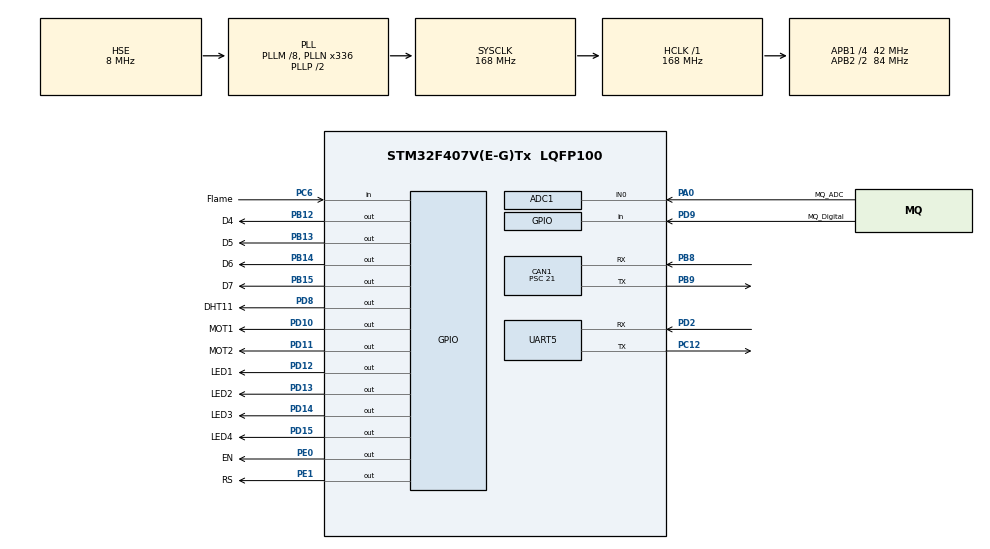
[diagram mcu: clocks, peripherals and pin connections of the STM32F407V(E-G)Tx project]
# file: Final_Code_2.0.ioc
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ADC1.Channel-0\#ChannelRegularConversion=ADC_CHANNEL_0
ADC1.ClockPrescaler=ADC_CLOCK_SYNC_PCLK_DIV8
ADC1.ContinuousConvMode=ENABLE
ADC1.NbrOfConversionFlag=1
ADC1.Rank-0\#ChannelRegularConversion=1
ADC1.Resolution=ADC_RESOLUTION_8B
ADC1.SamplingTime-0\#ChannelRegularConversion=ADC_SAMPLETIME_3CYCLES
ADC1.ScanConvMode=ENABLE
ADC1.master=1
CAN1.BS1=CAN_BS1_13TQ
CAN1.BS2=CAN_BS2_2TQ
CAN1.CalculateTimeQuantum=500.0
CAN1.Prescaler=21
Dma.ADC1.0.Direction=DMA_PERIPH_TO_MEMORY
Dma.ADC1.0.FIFOMode=DMA_FIFOMODE_DISABLE
Dma.ADC1.0.Instance=DMA2_Stream0
Dma.ADC1.0.MemDataAlignment=DMA_MDATAALIGN_HALFWORD
Dma.ADC1.0.MemInc=DMA_MINC_ENABLE
Dma.ADC1.0.Mode=DMA_NORMAL
Dma.ADC1.0.PeriphDataAlignment=DMA_PDATAALIGN_HALFWORD
Dma.ADC1.0.PeriphInc=DMA_PINC_DISABLE
Dma.ADC1.0.Priority=DMA_PRIORITY_LOW
Dma.Request0=ADC1
FREERTOS.Mutexes01=myLcdMutex,Dynamic,NULL;myUserMutex,Dynamic,NULL
FREERTOS.Tasks01=myCanTask,0,128,StartCanTask,Default,NULL,Dynamic,NULL,NULL;myFlameTask,-2,128,StartFlameTask,Default,NULL,Dynamic,NULL,NULL;myDHT11Task,-2,128,StartDHT11Task,Default,NULL,Dynamic,NULL,NULL;myMQ135Task,-2,128,StartMQ135Task,Default,NULL,Dynamic,NULL,NULL;myEmergencyTask,0,128,StartEmergencyTask,Default,NULL,Dynamic,NULL,NULL
Mcu.Family=STM32F4
Mcu.Name=STM32F407V(E-G)Tx
Mcu.Package=LQFP100
NVIC.CAN1_RX0_IRQn=true\:5\:0\:false\:false\:true\:true\:true\:true
NVIC.DMA2_Stream0_IRQn=true\:5\:0\:false\:false\:true\:true\:false\:true
NVIC.PriorityGroup=NVIC_PRIORITYGROUP_4
NVIC.TIM3_IRQn=true\:0\:0\:false\:false\:true\:false\:false\:true
NVIC.TimeBase=TIM3_IRQn
NVIC.TimeBaseIP=TIM3
PA0-WKUP.GPIO_Label=MQ_ADC
PA0-WKUP.Signal=ADCx_IN0
PB12.GPIO_Label=D4
PB12.Signal=GPIO_Output
PB13.GPIO_Label=D5
PB13.Signal=GPIO_Output
PB14.GPIO_Label=D6
PB14.Signal=GPIO_Output
PB15.GPIO_Label=D7
PB15.Signal=GPIO_Output
PB8.Mode=Master
PB8.Signal=CAN1_RX
PB9.Mode=Master
PB9.Signal=CAN1_TX
PC12.Mode=Asynchronous
PC12.Signal=UART5_TX
PC6.GPIO_Label=Flame
PC6.Signal=GPIO_Input
PD10.GPIO_Label=MOT1
PD10.Signal=GPIO_Output
PD11.GPIO_Label=MOT2
PD11.Signal=GPIO_Output
PD12.GPIO_Label=LED1
PD12.Signal=GPIO_Output
PD13.GPIO_Label=LED2
PD13.Signal=GPIO_Output
PD14.GPIO_Label=LED3
PD14.Signal=GPIO_Output
PD15.GPIO_Label=LED4
PD15.Signal=GPIO_Output
PD2.Mode=Asynchronous
PD2.Signal=UART5_RX
PD8.GPIO_Label=DHT11
PD8.Signal=GPIO_Output
PD9.GPIO_Label=MQ_Digital
PD9.Signal=GPIO_Input
PE0.GPIO_Label=EN
PE0.Signal=GPIO_Output
PE1.GPIO_Label=RS
PE1.Signal=GPIO_Output
PH0-OSC_IN.Mode=HSE-External-Oscillator
PH0-OSC_IN.Signal=RCC_OSC_IN
PH1-OSC_OUT.Mode=HSE-External-Oscillator
PH1-OSC_OUT.Signal=RCC_OSC_OUT
ProjectManager.HeapSize=0x200
ProjectManager.StackSize=0x400
ProjectManager.TargetToolchain=MDK-ARM V5
RCC.48MHZClocksFreq_Value=48000000
RCC.AHBFreq_Value=168000000
RCC.APB1CLKDivider=RCC_HCLK_DIV4
RCC.APB1Freq_Value=42000000
RCC.APB1TimFreq_Value=84000000
RCC.APB2CLKDivider=RCC_HCLK_DIV2
RCC.APB2Freq_Value=84000000
RCC.APB2TimFreq_Value=168000000
RCC.CortexFreq_Value=168000000
RCC.HCLKFreq_Value=168000000
RCC.HSE_VALUE=8000000
RCC.HSI_VALUE=16000000
RCC.LSE_VALUE=32768
RCC.PLLM=8
RCC.PLLN=336
RCC.PLLQ=7
RCC.PLLSourceVirtual=RCC_PLLSOURCE_HSE
RCC.SYSCLKFreq_VALUE=168000000
RCC.SYSCLKSource=RCC_SYSCLKSOURCE_PLLCLK
RCC.VCOOutputFreq_Value=336000000
SH.ADCx_IN0.0=ADC1_IN0,IN0
UART5.VirtualMode=Asynchronous
VP_FREERTOS_VS_CMSIS_V1.Mode=CMSIS_V1
VP_SYS_VS_tim3.Mode=TIM3
board=STM32F407G-DISC1

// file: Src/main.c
/* USER CODE BEGIN Header */
/**
  ******************************************************************************
  * @file           : main.c
  * @brief          : Main program body
  ******************************************************************************
  * @attention
  *
  * <h2><center>&copy; Copyright (c) 2020 STMicroelectronics.
  * All rights reserved.</center></h2>
  *
  * This software component is licensed by ST under Ultimate Liberty license
  * SLA0044, the "License"; You may not use this file except in compliance with
  * the License. You may obtain a copy of the License at:
  *                             www.st.com/SLA0044
  *
  ******************************************************************************
  */
/* USER CODE END Header */

#include "main.h"
#include "cmsis_os.h"
#include "MY_DHT11.h"
#include "STM_MY_LCD204A.h"
#include "dwt_stm32_delay.h"

/* USER CODE BEGIN Includes */
#define PERIOD 1000U
/* USER CODE END Includes */

/* USER CODE BEGIN PTD */
//  GPIO_InitTypeDef GPIO_InitStruct = {0};
/* USER CODE END PTD */

ADC_HandleTypeDef hadc1;
DMA_HandleTypeDef hdma_adc1;

CAN_HandleTypeDef hcan1;
CAN_FilterTypeDef sfilterConfig;   //can filter configuration variable
CAN_TxHeaderTypeDef TxHeader;			//can Tx configuration variable
CAN_RxHeaderTypeDef RxHeader;			//can Tx configuration variable
uint32_t pTxMailbox;					//Tx mailbox
void CAN_Init(void);

UART_HandleTypeDef huart5;

osThreadId myCanTaskHandle;
osThreadId myFlameTaskHandle;
osThreadId myDHT11TaskHandle;
osThreadId myMQ135TaskHandle;
osThreadId myEmergencyTaskHandle;
osMutexId myLcdMutexHandle;
osMutexId myUserMutexHandle;

void SystemClock_Config(void);
static void MX_GPIO_Init(void);
static void MX_DMA_Init(void);
static void MX_ADC1_Init(void);
static void MX_CAN1_Init(void);
static void MX_UART5_Init(void);

void StartCanTask(void const * argument);
void StartFlameTask(void const * argument);
void StartDHT11Task(void const * argument);
void StartMQ135Task(void const * argument);
void StartEmergencyTask(void const * argument);

/* USER CODE BEGIN PFP */
	uint8_t temp=0,humid=0;
	uint8_t flame = 0;
	uint8_t can_Data[4];
	uint8_t airQuality;
	uint8_t value1;
	uint8_t smoke = 0;
/* USER CODE END PFP */

int main(void)
{

  /* MCU Configuration--------------------------------------------------------*/

  /* Reset of all peripherals, Initializes the Flash interface and the Systick. */
  HAL_Init();

  /* Configure the system clock */
  SystemClock_Config();

  /* Initialize all configured peripherals */
  MX_GPIO_Init();
  MX_DMA_Init();
  MX_ADC1_Init();
  MX_CAN1_Init();
  MX_UART5_Init();
  /* USER CODE BEGIN 2 */

	HAL_ADC_Start(&hadc1);

	CAN_Init();

	DWT_Delay_Init();

	LCD204A_Begin4BIT(RS_GPIO_Port,RS_Pin,EN_Pin,D4_GPIO_Port,D4_Pin,D5_Pin,D6_Pin,D7_Pin);
	LCD204A_noBlink();
	LCD204A_noCursor();
	LCD204A_print(" Welcome To Factory");
	HAL_Delay(1500);
	LCD204A_clear();
	LCD204A_1stLine();
	LCD204A_print("Configuring...");
	HAL_Delay(3000);
	LCD204A_clear();

  /* USER CODE END 2 */

  /* Create the mutex(es) */
  /* definition and creation of myLcdMutex */
  osMutexDef(myLcdMutex);
  myLcdMutexHandle = osMutexCreate(osMutex(myLcdMutex));

  /* definition and creation of myUserMutex */
  osMutexDef(myUserMutex);
  myUserMutexHandle = osMutexCreate(osMutex(myUserMutex));

  /* Create the thread(s) */
  /* definition and creation of myCanTask */
  osThreadDef(myCanTask, StartCanTask, osPriorityNormal, 0, 128);
  myCanTaskHandle = osThreadCreate(osThread(myCanTask), NULL);

  /* definition and creation of myFlameTask */
  osThreadDef(myFlameTask, StartFlameTask, osPriorityLow, 0, 128);
  myFlameTaskHandle = osThreadCreate(osThread(myFlameTask), NULL);

  /* definition and creation of myDHT11Task */
  osThreadDef(myDHT11Task, StartDHT11Task, osPriorityLow, 0, 128);
  myDHT11TaskHandle = osThreadCreate(osThread(myDHT11Task), NULL);

  /* definition and creation of myMQ135Task */
  osThreadDef(myMQ135Task, StartMQ135Task, osPriorityLow, 0, 128);
  myMQ135TaskHandle = osThreadCreate(osThread(myMQ135Task), NULL);

  /* definition and creation of myEmergencyTask */
  osThreadDef(myEmergencyTask, StartEmergencyTask, osPriorityLow, 0, 128);
  myEmergencyTaskHandle = osThreadCreate(osThread(myEmergencyTask), NULL);

  /* Start scheduler */
  osKernelStart();

  /* We should never get here as control is now taken by the scheduler */

  /* Infinite loop */
  while (1)
  {

  }
}

void SystemClock_Config(void)
{
  RCC_OscInitTypeDef RCC_OscInitStruct = {0};
  RCC_ClkInitTypeDef RCC_ClkInitStruct = {0};

  /** Configure the main internal regulator output voltage
  */
  __HAL_RCC_PWR_CLK_ENABLE();
  __HAL_PWR_VOLTAGESCALING_CONFIG(PWR_REGULATOR_VOLTAGE_SCALE1);
  /** Initializes the CPU, AHB and APB busses clocks
  */
  RCC_OscInitStruct.OscillatorType = RCC_OSCILLATORTYPE_HSE;
  RCC_OscInitStruct.HSEState = RCC_HSE_ON;
  RCC_OscInitStruct.PLL.PLLState = RCC_PLL_ON;
  RCC_OscInitStruct.PLL.PLLSource = RCC_PLLSOURCE_HSE;
  RCC_OscInitStruct.PLL.PLLM = 8;
  RCC_OscInitStruct.PLL.PLLN = 336;
  RCC_OscInitStruct.PLL.PLLP = RCC_PLLP_DIV2;
  RCC_OscInitStruct.PLL.PLLQ = 7;
  if (HAL_RCC_OscConfig(&RCC_OscInitStruct) != HAL_OK)
  {
    Error_Handler();
  }
  /** Initializes the CPU, AHB and APB busses clocks
  */
  RCC_ClkInitStruct.ClockType = RCC_CLOCKTYPE_HCLK|RCC_CLOCKTYPE_SYSCLK
                              |RCC_CLOCKTYPE_PCLK1|RCC_CLOCKTYPE_PCLK2;
  RCC_ClkInitStruct.SYSCLKSource = RCC_SYSCLKSOURCE_PLLCLK;
  RCC_ClkInitStruct.AHBCLKDivider = RCC_SYSCLK_DIV1;
  RCC_ClkInitStruct.APB1CLKDivider = RCC_HCLK_DIV4;
  RCC_ClkInitStruct.APB2CLKDivider = RCC_HCLK_DIV2;

  if (HAL_RCC_ClockConfig(&RCC_ClkInitStruct, FLASH_LATENCY_5) != HAL_OK)
  {
    Error_Handler();
  }
}

static void MX_ADC1_Init(void)
{

  ADC_ChannelConfTypeDef sConfig = {0};

  /** Configure the global features of the ADC (Clock, Resolution, Data Alignment and number of conversion)
  */
  hadc1.Instance = ADC1;
  hadc1.Init.ClockPrescaler = ADC_CLOCK_SYNC_PCLK_DIV8;
  hadc1.Init.Resolution = ADC_RESOLUTION_8B;
  hadc1.Init.ScanConvMode = ENABLE;
  hadc1.Init.ContinuousConvMode = ENABLE;
  hadc1.Init.DiscontinuousConvMode = DISABLE;
  hadc1.Init.ExternalTrigConvEdge = ADC_EXTERNALTRIGCONVEDGE_NONE;
  hadc1.Init.ExternalTrigConv = ADC_SOFTWARE_START;
  hadc1.Init.DataAlign = ADC_DATAALIGN_RIGHT;
  hadc1.Init.NbrOfConversion = 1;
  hadc1.Init.DMAContinuousRequests = DISABLE;
  hadc1.Init.EOCSelection = ADC_EOC_SINGLE_CONV;
  if (HAL_ADC_Init(&hadc1) != HAL_OK)
  {
    Error_Handler();
  }
  /** Configure for the selected ADC regular channel its corresponding rank in the sequencer and its sample time.
  */
  sConfig.Channel = ADC_CHANNEL_0;
  sConfig.Rank = 1;
  sConfig.SamplingTime = ADC_SAMPLETIME_3CYCLES;
  if (HAL_ADC_ConfigChannel(&hadc1, &sConfig) != HAL_OK)
  {
    Error_Handler();
  }

}

static void MX_CAN1_Init(void)
{

  hcan1.Instance = CAN1;
  hcan1.Init.Prescaler = 21;
  hcan1.Init.Mode = CAN_MODE_NORMAL;
  hcan1.Init.SyncJumpWidth = CAN_SJW_1TQ;
  hcan1.Init.TimeSeg1 = CAN_BS1_13TQ;
  hcan1.Init.TimeSeg2 = CAN_BS2_2TQ;
  hcan1.Init.TimeTriggeredMode = DISABLE;
  hcan1.Init.AutoBusOff = DISABLE;
  hcan1.Init.AutoWakeUp = DISABLE;
  hcan1.Init.AutoRetransmission = DISABLE;
  hcan1.Init.ReceiveFifoLocked = DISABLE;
  hcan1.Init.TransmitFifoPriority = DISABLE;
  if (HAL_CAN_Init(&hcan1) != HAL_OK)
  {
    Error_Handler();
  }

}

static void MX_UART5_Init(void)
{

  huart5.Instance = UART5;
  huart5.Init.BaudRate = 115200;
  huart5.Init.WordLength = UART_WORDLENGTH_8B;
  huart5.Init.StopBits = UART_STOPBITS_1;
  huart5.Init.Parity = UART_PARITY_NONE;
  huart5.Init.Mode = UART_MODE_TX_RX;
  huart5.Init.HwFlowCtl = UART_HWCONTROL_NONE;
  huart5.Init.OverSampling = UART_OVERSAMPLING_16;
  if (HAL_UART_Init(&huart5) != HAL_OK)
  {
    Error_Handler();
  }

}

static void MX_DMA_Init(void)
{

  /* DMA controller clock enable */
  __HAL_RCC_DMA2_CLK_ENABLE();

  /* DMA interrupt init */
  /* DMA2_Stream0_IRQn interrupt configuration */
  HAL_NVIC_SetPriority(DMA2_Stream0_IRQn, 5, 0);
  HAL_NVIC_EnableIRQ(DMA2_Stream0_IRQn);

}

static void MX_GPIO_Init(void)
{
 GPIO_InitTypeDef GPIO_InitStruct = {0};

  /* GPIO Ports Clock Enable */
  __HAL_RCC_GPIOH_CLK_ENABLE();
  __HAL_RCC_GPIOA_CLK_ENABLE();
  __HAL_RCC_GPIOB_CLK_ENABLE();
  __HAL_RCC_GPIOD_CLK_ENABLE();
  __HAL_RCC_GPIOC_CLK_ENABLE();
  __HAL_RCC_GPIOE_CLK_ENABLE();

  /*Configure GPIO pin Output Level */
  HAL_GPIO_WritePin(GPIOB, D4_Pin|D5_Pin|D6_Pin|D7_Pin, GPIO_PIN_RESET);

  /*Configure GPIO pin Output Level */
  HAL_GPIO_WritePin(GPIOD, DHT11_Pin|MOT1_Pin|MOT2_Pin|LED1_Pin
                          |LED2_Pin|LED3_Pin|LED4_Pin, GPIO_PIN_RESET);

  /*Configure GPIO pin Output Level */
  HAL_GPIO_WritePin(GPIOE, EN_Pin|RS_Pin, GPIO_PIN_RESET);

  /*Configure GPIO pins : D4_Pin D5_Pin D6_Pin D7_Pin */
  GPIO_InitStruct.Pin = D4_Pin|D5_Pin|D6_Pin|D7_Pin;
  GPIO_InitStruct.Mode = GPIO_MODE_OUTPUT_PP;
  GPIO_InitStruct.Pull = GPIO_NOPULL;
  GPIO_InitStruct.Speed = GPIO_SPEED_FREQ_LOW;
  HAL_GPIO_Init(GPIOB, &GPIO_InitStruct);

  /*Configure GPIO pins : DHT11_Pin MOT1_Pin MOT2_Pin LED1_Pin
                           LED2_Pin LED3_Pin LED4_Pin */
  GPIO_InitStruct.Pin = DHT11_Pin|MOT1_Pin|MOT2_Pin|LED1_Pin
                          |LED2_Pin|LED3_Pin|LED4_Pin;
  GPIO_InitStruct.Mode = GPIO_MODE_OUTPUT_PP;
  GPIO_InitStruct.Pull = GPIO_NOPULL;
  GPIO_InitStruct.Speed = GPIO_SPEED_FREQ_LOW;
  HAL_GPIO_Init(GPIOD, &GPIO_InitStruct);

  /*Configure GPIO pin : MQ_Digital_Pin */
  GPIO_InitStruct.Pin = MQ_Digital_Pin;
  GPIO_InitStruct.Mode = GPIO_MODE_INPUT;
  GPIO_InitStruct.Pull = GPIO_NOPULL;
  HAL_GPIO_Init(MQ_Digital_GPIO_Port, &GPIO_InitStruct);

  /*Configure GPIO pin : Flame_Pin */
  GPIO_InitStruct.Pin = Flame_Pin;
  GPIO_InitStruct.Mode = GPIO_MODE_INPUT;
  GPIO_InitStruct.Pull = GPIO_NOPULL;
  HAL_GPIO_Init(Flame_GPIO_Port, &GPIO_InitStruct);

  /*Configure GPIO pins : EN_Pin RS_Pin */
  GPIO_InitStruct.Pin = EN_Pin|RS_Pin;
  GPIO_InitStruct.Mode = GPIO_MODE_OUTPUT_PP;
  GPIO_InitStruct.Pull = GPIO_NOPULL;
  GPIO_InitStruct.Speed = GPIO_SPEED_FREQ_LOW;
  HAL_GPIO_Init(GPIOE, &GPIO_InitStruct);

}

void StartCanTask(void const * argument)
{
	uint8_t Data = 'C';
  /* USER CODE BEGIN 5 */
  /* Infinite loop */
  for(;;)
  {
		/*
		if( !(flame) && smoke) {

		xSemaphoreTake(myLcdMutexHandle,portMAX_DELAY);

		LCD204A_4thLine();
		LCD204A_print("System OK");
			HAL_Delay(200);

		xSemaphoreGive(myLcdMutexHandle);
		}
		*/
		HAL_CAN_AddTxMessage(&hcan1,&TxHeader,can_Data,&pTxMailbox);
		/*
		xSemaphoreTake(myUserMutexHandle,portMAX_DELAY);
		HAL_CAN_AddTxMessage(&hcan1,&TxHeader,&Data,&pTxMailbox);
		xSemaphoreGive(myUserMutexHandle);
		*/
    osDelay(PERIOD);

  }
  /* USER CODE END 5 */
}

void StartFlameTask(void const * argument)
{
	uint8_t Data = 'F';
	//uint8_t flame = 0;
  /* USER CODE BEGIN StartFlameTask */
  /* Infinite loop */
  for(;;)
  {

		//HAL_GPIO_TogglePin(LED1_GPIO_Port,LED1_Pin);
		//osDelay(PERIOD);

		flame = HAL_GPIO_ReadPin(Flame_GPIO_Port,Flame_Pin);
		can_Data[0] = flame;

		if(flame){

				xTaskNotify(myEmergencyTaskHandle,0x01,eSetBits);

		} /*else {

		xSemaphoreTake(myLcdMutexHandle,portMAX_DELAY);

		LCD204A_4thLine();
		LCD204A_print("System OK");

		xSemaphoreGive(myLcdMutexHandle);
		}
			*/
		/*
		xSemaphoreTake(myUserMutexHandle,portMAX_DELAY);
		HAL_CAN_AddTxMessage(&hcan1,&TxHeader,&Data,&pTxMailbox);
		xSemaphoreGive(myUserMutexHandle);
    */
		osDelay(PERIOD);

  }
  /* USER CODE END StartFlameTask */
}

void StartDHT11Task(void const * argument)
{

	//uint8_t Data = 'D';
  /* USER CODE BEGIN StartDHT11Task */
  /* Infinite loop */
  for(;;)
  {

		/*
		HAL_GPIO_TogglePin(LED2_GPIO_Port,LED2_Pin);
		osDelay(PERIOD);
		*/

		DHT11_GetTemp_Humidity(&temp,&humid);
		can_Data[1]= temp;
		can_Data[2]= humid;

		//osDelay(PERIOD);

							xSemaphoreTake(myLcdMutexHandle,portMAX_DELAY);

							LCD204A_1stLine();
							LCD204A_print("Temperature:");
							LCD204A_PrintInt(temp);
							LCD204A_print("C");
							LCD204A_2ndLine();
							LCD204A_print("Humidity:");
							LCD204A_PrintInt(humid);
							LCD204A_print("%");
						//	HAL_Delay(200);

							xSemaphoreGive(myLcdMutexHandle);

		if(temp>=40){
	       //temperature condition
				xTaskNotify(myEmergencyTaskHandle,0x03,eSetBits);
		} else if(humid>=70){
							//humidity condition
							xTaskNotify(myEmergencyTaskHandle,0x04,eSetBits);
		}

		/*
    xSemaphoreTake(myUserMutexHandle,portMAX_DELAY);
		HAL_CAN_AddTxMessage(&hcan1,&TxHeader,&temp,&pTxMailbox);
		xSemaphoreGive(myUserMutexHandle);
    */
		osDelay(PERIOD);

  }
}

void StartMQ135Task(void const * argument)
{

	//uint8_t smokeThd;

	uint8_t Data = 'S';

  /* USER CODE BEGIN StartMQ135Task */
  /* Infinite loop */
  for(;;)
  {

		value1 = HAL_ADC_GetValue(&hadc1);
		smoke = HAL_GPIO_ReadPin(MQ_Digital_GPIO_Port,MQ_Digital_Pin);

		can_Data[3] = smoke;
		if(!smoke){

				xTaskNotify(myEmergencyTaskHandle,0x02,eSetBits);

		} /*else {

		xSemaphoreTake(myLcdMutexHandle,portMAX_DELAY);

		LCD204A_3rdLine();
		LCD204A_print("Air Qlt: OK");

		xSemaphoreGive(myUserMutexHandle);
		}*/
			//value1 = value1 * 100;
		//airQuality = (uint8_t)value1/255;

		//osDelay(PERIOD);

		/*
		smoke = HAL_ADC_GetValue(&hadc1);
		smokeThd = HAL_GPIO_ReadPin(MQ_Digital_GPIO_Port,MQ_Digital_Pin);
		*/

		/*
    xSemaphoreTake(myUserMutexHandle,portMAX_DELAY);
		HAL_CAN_AddTxMessage(&hcan1,&TxHeader,&Data,&pTxMailbox);
		xSemaphoreGive(myUserMutexHandle);
		*/
    osDelay(PERIOD);

  }
  /* USER CODE END StartMQ135Task */
}
void StartEmergencyTask(void const * argument)
{
	uint8_t Data = 'E';
	uint32_t notifyValue;

  /* USER CODE BEGIN StartEmergencyTask */
  /* Infinite loop */
  for(;;)
  {
		xTaskNotifyWait(pdFALSE,0xFF,&notifyValue,portMAX_DELAY);
		if((notifyValue & 0x01) != 0x00){
		//flame
		HAL_GPIO_TogglePin(LED1_GPIO_Port,LED1_Pin);

		xSemaphoreTake(myLcdMutexHandle,portMAX_DELAY);

	//	LCD204A_clear();
		LCD204A_3rdLine();
		LCD204A_print("  Fire in Factory");
		LCD204A_4thLine();
		LCD204A_print("    Evacuate Now");
		osDelay(1500);

		xSemaphoreGive(myUserMutexHandle);

		} else if((notifyValue & 0x02) != 0x00){

			//smoke
			HAL_GPIO_TogglePin(LED2_GPIO_Port,LED2_Pin);

			xSemaphoreTake(myLcdMutexHandle,portMAX_DELAY);

		//LCD204A_clear();
		LCD204A_3rdLine();
		LCD204A_print("  Smoke in Factory");
		LCD204A_4thLine();
		LCD204A_print("    Evacuate Now");
		osDelay(1500);

		xSemaphoreGive(myUserMutexHandle);

		} else if((notifyValue & 0x03) != 0x00){

			//temperature
			HAL_GPIO_TogglePin(LED3_GPIO_Port,LED3_Pin);

			xSemaphoreTake(myLcdMutexHandle,portMAX_DELAY);

		//LCD204A_clear();
		LCD204A_3rdLine();
		LCD204A_print("  High Temperature");
		LCD204A_4thLine();
		LCD204A_print("   Pause work Now");
		osDelay(1500);
		xSemaphoreGive(myUserMutexHandle);

		} else if((notifyValue & 0x04) != 0x00){

			//humidity
			HAL_GPIO_TogglePin(LED4_GPIO_Port,LED4_Pin);

			xSemaphoreTake(myLcdMutexHandle,portMAX_DELAY);

		//LCD204A_clear();
		LCD204A_3rdLine();
		LCD204A_print("High Humidity");
		LCD204A_4thLine();
		LCD204A_print("Pause work Now");
		osDelay(1500);

		xSemaphoreGive(myUserMutexHandle);

		}

		LCD204A_clear();
		/*
		HAL_GPIO_TogglePin(LED4_GPIO_Port,LED4_Pin);
		osDelay(PERIOD);
		*/

		/*
   xSemaphoreTake(myUserMutexHandle,portMAX_DELAY);
		HAL_CAN_AddTxMessage(&hcan1,&TxHeader,&Data,&pTxMailbox);
		xSemaphoreGive(myUserMutexHandle);
    */
		osDelay(PERIOD);

		//osDelay(1);
  }
  /* USER CODE END StartEmergencyTask */
}

void HAL_TIM_PeriodElapsedCallback(TIM_HandleTypeDef *htim)
{
  if (htim->Instance == TIM3) {
    HAL_IncTick();
  }
}

void Error_Handler(void)
{
}

/********************************************************************************/
//CAN initialization function for tx and filter parameters
/***********************************************************************************/
void CAN_Init(void)
{
	TxHeader.DLC=4;
	TxHeader.IDE=CAN_ID_STD;
	TxHeader.RTR=CAN_RTR_DATA;
	TxHeader.StdId=0x244;

	sfilterConfig.FilterBank=0;
	sfilterConfig.FilterIdHigh=0;
	//sfilterConfig.FilterIdHigh=0x245<<5;
	sfilterConfig.FilterIdLow=0;
	sfilterConfig.FilterMaskIdHigh=0;
	sfilterConfig.FilterMaskIdLow=0;
	sfilterConfig.FilterScale=CAN_FILTERSCALE_32BIT;
	sfilterConfig.FilterFIFOAssignment=CAN_FilterFIFO0;
	sfilterConfig.FilterActivation=ENABLE;

	HAL_CAN_ConfigFilter(&hcan1,&sfilterConfig);

	HAL_CAN_Start(&hcan1);

	HAL_CAN_ActivateNotification(&hcan1,CAN_IT_RX_FIFO0_MSG_PENDING);   //Enable the inteerupt of can receive

}

/************************ (C) COPYRIGHT STMicroelectronics *****END OF FILE****/
